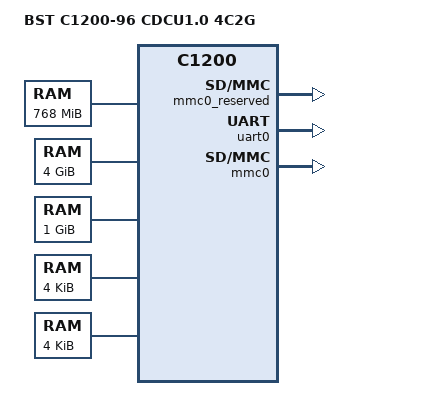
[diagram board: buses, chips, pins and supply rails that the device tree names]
// SPDX-License-Identifier: GPL-2.0
/dts-v1/;

#include "bstc1200.dtsi"

/ {
	model = "BST C1200-96 CDCU1.0 4C2G";
	compatible = "bst,c1200-cdcu1.0-adas-4c2g", "bst,c1200";

	chosen {
		stdout-path = "serial0:115200n8";
	};

	memory@810000000 {
		device_type = "memory";
		reg = <0x8 0x10000000 0x0 0x30000000>;
	};

	memory@8c0000000 {
		device_type = "memory";
		reg = <0x8 0xc0000000 0x1 0x0>;
	};

	memory@c00000000 {
		device_type = "memory";
		reg = <0xc 0x0 0x0 0x40000000>;
	};

	memory@800254000 {
		device_type = "memory";
		reg = <0x8 0x254000 0x0 0x1000>;
	};

	memory@800151000 {
		device_type = "memory";
		reg = <0x8 0x151000 0x0 0x1000>;
	};

	reserved-memory {
		#address-cells = <2>;
		#size-cells = <2>;
		ranges;

		mmc0_reserved: mmc0@5160000 {
			compatible = "shared-dma-pool";
			reg = <0x0 0x5160000 0x0 0x10000>;
			no-map;
		};
	};
};

&uart0 {
	status = "okay";
};

&mmc0 {
	status = "okay";
	memory-region = <&mmc0_reserved>;
};

